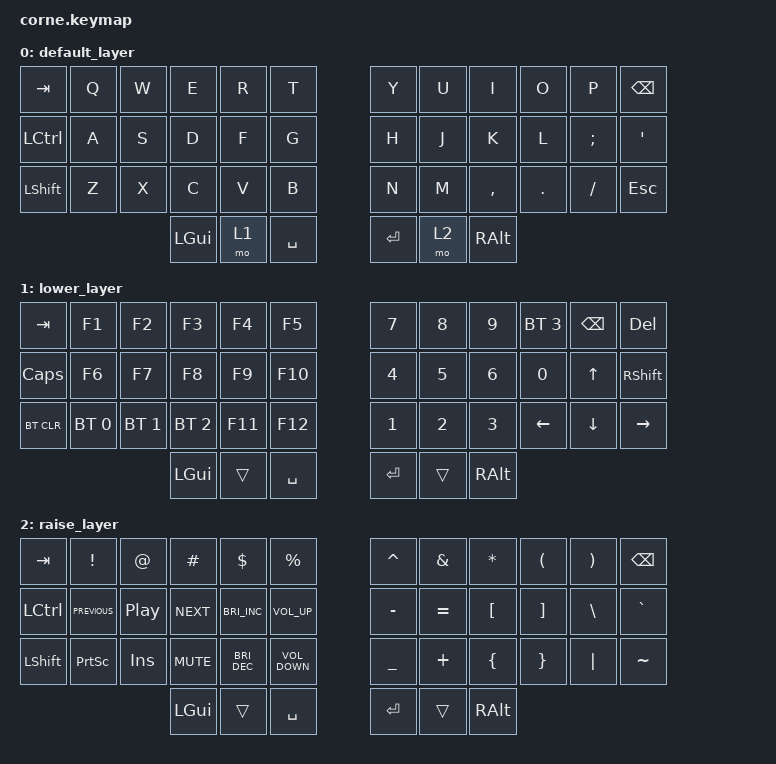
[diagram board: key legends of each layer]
/*
 * Copyright (c) 2020 The ZMK Contributors
 *
 * SPDX-License-Identifier: MIT
 */

#include <behaviors.dtsi>
#include <dt-bindings/zmk/keys.h>
#include <dt-bindings/zmk/bt.h>

/ {
        keymap {
                compatible = "zmk,keymap";

                default_layer {
// -----------------------------------------------------------------------------------------
// |  TAB |  Q  |  W  |  E  |  R  |  T  |   |  Y  |  U   |  I  |  O  |  P  | BKSP |
// | CTRL |  A  |  S  |  D  |  F  |  G  |   |  H  |  J   |  K  |  L  |  ;  |  '   |
// | SHFT |  Z  |  X  |  C  |  V  |  B  |   |  N  |  M   |  ,  |  .  |  /  | ESC  |
//                    | GUI | LWR | SPC |   | ENT | RSE  | ALT |
                        bindings = <
   &kp TAB   &kp Q &kp W &kp E &kp R &kp T   &kp Y &kp U  &kp I     &kp O   &kp P    &kp BSPC
   &kp LCTRL &kp A &kp S &kp D &kp F &kp G   &kp H &kp J  &kp K     &kp L   &kp SEMI &kp SQT
   &kp LSHFT &kp Z &kp X &kp C &kp V &kp B   &kp N &kp M  &kp COMMA &kp DOT &kp FSLH &kp ESC
                  &kp LGUI &mo 1 &kp SPACE   &kp RET &mo 2 &kp RALT
                        >;
                };
                lower_layer {
// -----------------------------------------------------------------------------------------
// |  TAB |  1  |  2  |  3  |  4  |  5  |   |  6  |  7  |  8  |  9  |  0  | BKSP |
// | BTCLR| BT1 | BT2 | BT3 | BT4 | BT5 |   | LFT | DWN |  UP | RGT |     |      |
// | SHFT |     |     |     |     |     |   |     |     |     |     |     |      |
//                    | GUI |     | SPC |   | ENT |     | ALT |
//                        bindings = <
//   &kp TAB    &kp N1       &kp N2       &kp N3       &kp N4       &kp N5         &kp N6   &kp N7   &kp N8 &kp N9    &kp N0 &kp BSPC
//   &bt BT_CLR &bt BT_SEL 0 &bt BT_SEL 1 &bt BT_SEL 2 &bt BT_SEL 3 &bt BT_SEL 4   &kp LEFT &kp DOWN &kp UP &kp RIGHT &trans &trans
//   &kp LSHFT  &trans       &trans       &trans       &trans       &trans         &trans   &trans   &trans &trans    &trans &trans
//                                        &kp LGUI     &trans       &kp SPACE      &kp RET  &trans   &kp RALT
//                        >;

//
 // Custom Keymap Configuration
 // 
 // Layout:
 // | TAB    | F1       | F2       | F3       | F4  | F5  |      | N7 | N8 | N9 |      | BSPC | DEL   |
 // | LSHFT  | F6       | F7       | F8       | F9  | F10 |      | N4 | N5 | N6 | N0   | UP   |       |
 // | BT_CLR | BT_SEL 0 | BT_SEL 1 | BT_SEL 2 | F11 | F12 |      | N1 | N2 | N3 | LEFT | DOWN | RIGHT |
 //                                | LGUI     |     |SPACE|      | RET|    | RALT |
 //

                        bindings = <
   &kp TAB    &kp F1       &kp F2       &kp F3       &kp F4       &kp F5         &kp N7   &kp N8   &kp N9   &bt BT_SEL 3    &kp BSPC   &kp DEL
   &kp CAPS   &kp F6       &kp F7       &kp F8       &kp F9       &kp F10         &kp N4   &kp N5  &kp N6   &kp N0          &kp UP     &kp RSHFT
   &bt BT_CLR &bt BT_SEL 0 &bt BT_SEL 1 &bt BT_SEL 2 &kp F11      &kp F12        &kp N1   &kp N2   &kp N3   &kp LEFT        &kp DOWN   &kp RIGHT
                                        &kp LGUI     &trans       &kp SPACE      &kp RET  &trans   &kp RALT
                        >;
                };

                raise_layer {
// -----------------------------------------------------------------------------------------
// |  TAB |  !           |  @          |  #           |  $  |  %  |   |  ^  |  &  |  *  |  (  |  )  | BKSP |
// | CTRL |  PREV_SONG   | PLAY_PAUSE  | NEXT_SONG    | BR+ | VOL+|   |  -  |  =  |  [  |  ]  |  \  |  `   |
// | SHFT |  PRTSC       | INS         |  MUTE        | BR- | VOL-|   |  _  |  +  |  {  |  }  | "|" |  ~   |
//                                              | GUI |     | SPC |   | ENT |     | ALT |
                        
                        bindings = <
   &kp TAB   &kp EXCL         &kp AT            &kp HASH        &kp DLLR                  &kp PRCNT         &kp CARET  &kp AMPS  &kp ASTRK &kp LPAR &kp RPAR &kp BSPC
   &kp LCTRL &kp C_PREVIOUS   &kp C_PLAY_PAUSE  &kp C_NEXT      &kp C_BRIGHTNESS_INC      &kp C_VOLUME_UP   &kp MINUS  &kp EQUAL &kp LBKT  &kp RBKT &kp BSLH &kp GRAVE
   &kp LSHFT &kp PRINTSCREEN  &kp INS           &kp C_MUTE      &kp C_BRIGHTNESS_DEC      &kp C_VOLUME_DOWN &kp UNDER  &kp PLUS  &kp LBRC  &kp RBRC &kp PIPE &kp TILDE
                              &kp LGUI          &trans          &kp SPACE                 &kp RET           &trans     &kp RALT
                        >;
                };
        };
};
